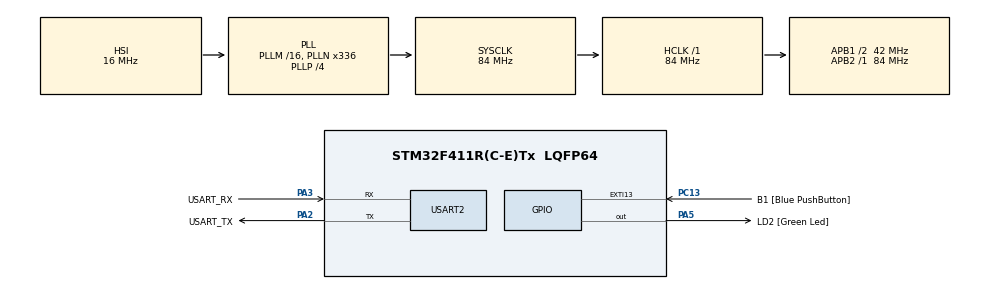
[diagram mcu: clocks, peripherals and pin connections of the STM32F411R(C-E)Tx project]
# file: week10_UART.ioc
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Mcu.Family=STM32F4
Mcu.Name=STM32F411R(C-E)Tx
Mcu.Package=LQFP64
NVIC.PriorityGroup=NVIC_PRIORITYGROUP_0
NVIC.USART2_IRQn=true\:0\:0\:false\:false\:true\:true\:true
PA13.GPIO_Label=TMS
PA13.Mode=Serial_Wire
PA13.Signal=SYS_JTMS-SWDIO
PA14.GPIO_Label=TCK
PA14.Mode=Serial_Wire
PA14.Signal=SYS_JTCK-SWCLK
PA2.GPIO_Label=USART_TX
PA2.Mode=Asynchronous
PA2.Signal=USART2_TX
PA3.GPIO_Label=USART_RX
PA3.Mode=Asynchronous
PA3.Signal=USART2_RX
PA5.GPIO_Label=LD2 [Green Led]
PA5.Signal=GPIO_Output
PB3.GPIO_Label=SWO
PB3.Signal=SYS_JTDO-SWO
PC13-ANTI_TAMP.GPIO_Label=B1 [Blue PushButton]
PC13-ANTI_TAMP.GPIO_ModeDefaultEXTI=GPIO_MODE_IT_FALLING
PC13-ANTI_TAMP.Signal=GPXTI13
PC14-OSC32_IN.Mode=LSE-External-Oscillator
PC14-OSC32_IN.Signal=RCC_OSC32_IN
PC15-OSC32_OUT.Mode=LSE-External-Oscillator
PC15-OSC32_OUT.Signal=RCC_OSC32_OUT
PH0\ -\ OSC_IN.Mode=HSE-External-Clock-Source
PH0\ -\ OSC_IN.Signal=RCC_OSC_IN
PH1\ -\ OSC_OUT.Mode=HSE-External-Clock-Source
PH1\ -\ OSC_OUT.Signal=RCC_OSC_OUT
ProjectManager.HeapSize=0x200
ProjectManager.StackSize=0x400
ProjectManager.TargetToolchain=STM32CubeIDE
RCC.48MHZClocksFreq_Value=84000000
RCC.AHBFreq_Value=84000000
RCC.APB1CLKDivider=RCC_HCLK_DIV2
RCC.APB1Freq_Value=42000000
RCC.APB1TimFreq_Value=84000000
RCC.APB2Freq_Value=84000000
RCC.APB2TimFreq_Value=84000000
RCC.CortexFreq_Value=84000000
RCC.FLatency-AdvancedSettings=FLASH_LATENCY_2
RCC.HCLKFreq_Value=84000000
RCC.HSE_VALUE=8000000
RCC.HSI_VALUE=16000000
RCC.PLLN=336
RCC.PLLP=RCC_PLLP_DIV4
RCC.SYSCLKFreq_VALUE=84000000
RCC.SYSCLKSource=RCC_SYSCLKSOURCE_PLLCLK
RCC.VCOOutputFreq_Value=336000000
USART2.VirtualMode=VM_ASYNC
board=NUCLEO-F411RE

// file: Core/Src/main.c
/* USER CODE BEGIN Header */
/**
  ******************************************************************************
  * @file           : main.c
  * @brief          : Main program body
  ******************************************************************************
  * @attention
  *
  * <h2><center>&copy; Copyright (c) 2021 STMicroelectronics.
  * All rights reserved.</center></h2>
  *
  * This software component is licensed by ST under BSD 3-Clause license,
  * the "License"; You may not use this file except in compliance with the
  * License. You may obtain a copy of the License at:
  *                        opensource.org/licenses/BSD-3-Clause
  *
  ******************************************************************************
  */
/* USER CODE END Header */
#include "main.h"

/* USER CODE BEGIN Includes */

#include <stdio.h>
#include <string.h>

/* USER CODE END Includes */

/* USER CODE BEGIN PD */
#define main_state 0
#define led_state 1
#define button_state 2
#define frequency 3
#define toggle_led 4
#define wrong_input 5

/* USER CODE END PD */

UART_HandleTypeDef huart2;

/* USER CODE BEGIN PV */

char RXdatabuffer[45] = "";
char TXdatabuffer[45] = "";
uint16_t state = 0,led_frequency = 1,led_status = 0;
uint32_t timestamp = 0;
uint8_t a = 0;
uint8_t b = 0;

/* USER CODE END PV */

void SystemClock_Config(void);
static void MX_GPIO_Init(void);
static void MX_USART2_UART_Init(void);
void print(uint8_t input);
/* USER CODE BEGIN PFP */

int16_t UARTRecieveIT();

/* USER CODE END PFP */

int main(void)
{

  /* MCU Configuration--------------------------------------------------------*/

  /* Reset of all peripherals, Initializes the Flash interface and the Systick. */
  HAL_Init();

  /* Configure the system clock */
  SystemClock_Config();

  /* Initialize all configured peripherals */
  MX_GPIO_Init();
  MX_USART2_UART_Init();
  /* USER CODE BEGIN 2 */
  {
	  /*
	  char temp[] = "HELLO WORLD\r\n please type something to test UART\r\n";
	  HAL_UART_Transmit(&huart2, (uint8_t *) temp, strlen(temp), 1000);
	  */
	  print(main_state);
  }
  /* USER CODE END 2 */

  /* Infinite loop */
  /* USER CODE BEGIN WHILE */
  while (1)
  {

	  HAL_UART_Receive_IT(&huart2, (uint8_t*) RXdatabuffer, 32);

	  int16_t inputchar = UARTRecieveIT();
	  if(inputchar != -1){
		  switch (state) {
			  case main_state:
				  switch (inputchar){
					  case '0': state = led_state; print(led_state);break;
					  case '1': state = button_state; print(button_state);break;
					  default: print(wrong_input);
				  }break;
			  case led_state:
				  switch (inputchar){
					  case 'a': led_frequency+=1;print(frequency);break;
					  case 's': if(led_frequency){led_frequency -= 1;print(frequency);}break;
					  case 'd': led_status = !led_status; print(toggle_led);break;
					  case 'x': state = main_state;print(main_state);break;
					  default: print(wrong_input);
				  }break;
			  case button_state:
				  switch (inputchar){
					  case 'x': state = main_state;print(main_state);break;
					  default: print(wrong_input);
				  }
				  break;
		  }
	  }

	  b=a;
	  a=HAL_GPIO_ReadPin(GPIOC, GPIO_PIN_13);

	  if(state == button_state && a!=b){
		  print(7);
	  }

	  //LED
	  if(led_status){
		  if(HAL_GetTick()-timestamp >= 500.0/led_frequency){
			  timestamp = HAL_GetTick();
			  HAL_GPIO_TogglePin(GPIOA, GPIO_PIN_5);
		  }
	  }
	  else{
		  HAL_GPIO_WritePin(GPIOA, GPIO_PIN_5,0);
	  }

	  /*if(inputchar != -1){

		  sprintf(TXdatabuffer,"ReceivedChar: [%c]\r\n",inputchar);
		  HAL_UART_Transmit(&huart2, (uint8_t*)TXdatabuffer, strlen(TXdatabuffer),1000);

	  }*/

    /* USER CODE END WHILE */

  }
}

void SystemClock_Config(void)
{
  RCC_OscInitTypeDef RCC_OscInitStruct = {0};
  RCC_ClkInitTypeDef RCC_ClkInitStruct = {0};

  /** Configure the main internal regulator output voltage
  */
  __HAL_RCC_PWR_CLK_ENABLE();
  __HAL_PWR_VOLTAGESCALING_CONFIG(PWR_REGULATOR_VOLTAGE_SCALE1);
  /** Initializes the RCC Oscillators according to the specified parameters
  * in the RCC_OscInitTypeDef structure.
  */
  RCC_OscInitStruct.OscillatorType = RCC_OSCILLATORTYPE_HSI;
  RCC_OscInitStruct.HSIState = RCC_HSI_ON;
  RCC_OscInitStruct.HSICalibrationValue = RCC_HSICALIBRATION_DEFAULT;
  RCC_OscInitStruct.PLL.PLLState = RCC_PLL_ON;
  RCC_OscInitStruct.PLL.PLLSource = RCC_PLLSOURCE_HSI;
  RCC_OscInitStruct.PLL.PLLM = 16;
  RCC_OscInitStruct.PLL.PLLN = 336;
  RCC_OscInitStruct.PLL.PLLP = RCC_PLLP_DIV4;
  RCC_OscInitStruct.PLL.PLLQ = 4;
  if (HAL_RCC_OscConfig(&RCC_OscInitStruct) != HAL_OK)
  {
    Error_Handler();
  }
  /** Initializes the CPU, AHB and APB buses clocks
  */
  RCC_ClkInitStruct.ClockType = RCC_CLOCKTYPE_HCLK|RCC_CLOCKTYPE_SYSCLK
                              |RCC_CLOCKTYPE_PCLK1|RCC_CLOCKTYPE_PCLK2;
  RCC_ClkInitStruct.SYSCLKSource = RCC_SYSCLKSOURCE_PLLCLK;
  RCC_ClkInitStruct.AHBCLKDivider = RCC_SYSCLK_DIV1;
  RCC_ClkInitStruct.APB1CLKDivider = RCC_HCLK_DIV2;
  RCC_ClkInitStruct.APB2CLKDivider = RCC_HCLK_DIV1;

  if (HAL_RCC_ClockConfig(&RCC_ClkInitStruct, FLASH_LATENCY_2) != HAL_OK)
  {
    Error_Handler();
  }
}

static void MX_USART2_UART_Init(void)
{

  huart2.Instance = USART2;
  huart2.Init.BaudRate = 115200;
  huart2.Init.WordLength = UART_WORDLENGTH_8B;
  huart2.Init.StopBits = UART_STOPBITS_1;
  huart2.Init.Parity = UART_PARITY_NONE;
  huart2.Init.Mode = UART_MODE_TX_RX;
  huart2.Init.HwFlowCtl = UART_HWCONTROL_NONE;
  huart2.Init.OverSampling = UART_OVERSAMPLING_16;
  if (HAL_UART_Init(&huart2) != HAL_OK)
  {
    Error_Handler();
  }

}

static void MX_GPIO_Init(void)
{
  GPIO_InitTypeDef GPIO_InitStruct = {0};

  /* GPIO Ports Clock Enable */
  __HAL_RCC_GPIOC_CLK_ENABLE();
  __HAL_RCC_GPIOH_CLK_ENABLE();
  __HAL_RCC_GPIOA_CLK_ENABLE();
  __HAL_RCC_GPIOB_CLK_ENABLE();

  /*Configure GPIO pin Output Level */
  HAL_GPIO_WritePin(LD2_GPIO_Port, LD2_Pin, GPIO_PIN_RESET);

  /*Configure GPIO pin : B1_Pin */
  GPIO_InitStruct.Pin = B1_Pin;
  GPIO_InitStruct.Mode = GPIO_MODE_IT_FALLING;
  GPIO_InitStruct.Pull = GPIO_NOPULL;
  HAL_GPIO_Init(B1_GPIO_Port, &GPIO_InitStruct);

  /*Configure GPIO pin : LD2_Pin */
  GPIO_InitStruct.Pin = LD2_Pin;
  GPIO_InitStruct.Mode = GPIO_MODE_OUTPUT_PP;
  GPIO_InitStruct.Pull = GPIO_NOPULL;
  GPIO_InitStruct.Speed = GPIO_SPEED_FREQ_LOW;
  HAL_GPIO_Init(LD2_GPIO_Port, &GPIO_InitStruct);

}

/* USER CODE BEGIN 4 */

void HAL_UART_RxCpltCallback(UART_HandleTypeDef *huart){

	sprintf(TXdatabuffer, "Received:[%s]\r\n",RXdatabuffer);
	HAL_UART_Transmit(&huart2, (uint8_t*)TXdatabuffer, strlen(TXdatabuffer),1000);

}

int16_t UARTRecieveIT(){

	static uint32_t dataPos = 0;

	int16_t data = -1;

	if(huart2.RxXferSize - huart2.RxXferCount != dataPos){

		data = RXdatabuffer[dataPos];

		dataPos = (dataPos+1)%huart2.RxXferSize;

	}
	return data;
}

void print(uint8_t input){
	char temp[100] = "";
	switch (input){
		case main_state: strcat(temp,"==============\r\n0:LED Control\r\n1:button Status\r\n==============\r\n");break;
		case led_state: strcat(temp,"==============\r\na:Speed Up 1Hz\r\nb:Speed down 1Hz\r\nd:On/off\r\nx:back\r\n==============\r\n");break;
		case button_state: strcat(temp,"==============\r\nx:back\r\n");break;
		case frequency: sprintf(temp,"==============\r\nFrequency: %d Hz\r\n==============\r\n",led_frequency);break;
		case toggle_led: strcat(temp,"==============\r\ntoggle_led\r\n==============\r\n");break;
		case wrong_input: strcat(temp,"==============\r\nWrong Input!\r\n==============\r\n");break;
		case 7: if(HAL_GPIO_ReadPin(GPIOC, GPIO_PIN_13)){strcat(temp,"un");}strcat(temp,"press\r\n");break;
	}

	HAL_UART_Transmit(&huart2, (uint8_t*)temp, strlen(temp),1000);
}

/* USER CODE END 4 */

void Error_Handler(void)
{
  __disable_irq();
  while (1)
  {
  }
}

/************************ (C) COPYRIGHT STMicroelectronics *****END OF FILE****/
